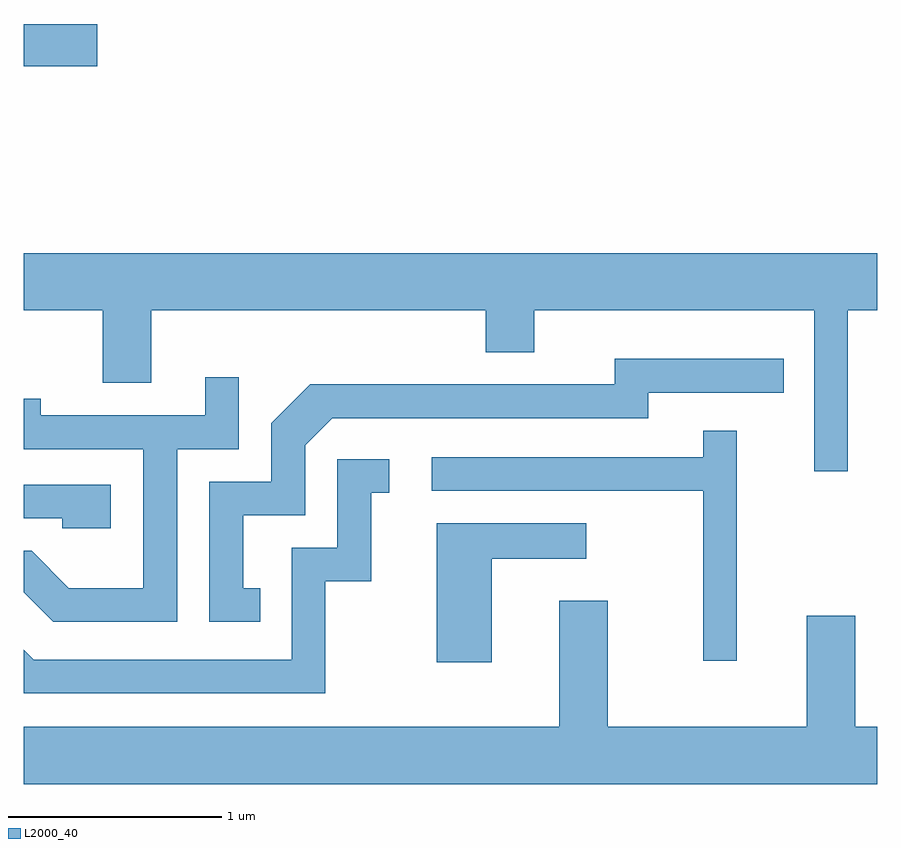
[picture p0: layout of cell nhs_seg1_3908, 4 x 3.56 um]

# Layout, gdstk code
import gdstk
lib = gdstk.Library(unit=1e-6, precision=1e-09)
def R(c, l, rs):  # rectangles x0, y0, x1, y1
    for r in rs: c.add(gdstk.rectangle(r[:2], r[2:], *l))
def P(c, l, *ps):  # polygons
    for p in ps: c.add(gdstk.Polygon(p, *l))
L2000_40 = (2000, 40)

nhs_seg1_3908 = lib.new_cell('nhs_seg1_3908')
R(nhs_seg1_3908, L2000_40, [(303.611,845.221,303.954,845.419)])
P(nhs_seg1_3908, L2000_40, [(303.611,844.076),(303.981,844.076),(303.981,843.736),(304.209,843.736),(304.209,844.076),(305.776,844.076),(305.776,843.881),(306.004,843.881),(306.004,844.076),(307.316,844.076),(307.316,843.323),(307.474,843.323),(307.474,844.076),(307.611,844.076),(307.611,844.344),(303.611,844.344)],
  [(304.718,842.774),(304.639,842.774),(304.639,843.116),(304.929,843.116),(304.929,843.444),(305.057,843.571),(306.539,843.571),(306.539,843.691),(307.173,843.691),(307.173,843.849),(306.381,843.849),(306.381,843.729),(304.954,843.729),(304.771,843.547),(304.771,843.274),(304.481,843.274),(304.481,842.616),(304.718,842.616)],
  [(304.329,843.426),(304.619,843.426),(304.619,843.763),(304.461,843.763),(304.461,843.584),(303.689,843.584),(303.689,843.663),(303.611,843.663),(303.611,843.426),(304.171,843.426),(304.171,842.774),(303.822,842.774),(303.647,842.949),(303.611,842.949),(303.611,842.754),(303.749,842.616),(304.329,842.616)],
  [(306.954,843.513),(306.796,843.513),(306.796,843.389),(305.523,843.389),(305.523,843.231),(306.796,843.231),(306.796,842.433),(306.954,842.433)],
  [(305.024,842.806),(305.239,842.806),(305.239,843.221),(305.323,843.221),(305.323,843.379),(305.081,843.379),(305.081,842.964),(304.866,842.964),(304.866,842.439),(303.657,842.439),(303.611,842.485),(303.611,842.281),(305.024,842.281)],
  [(304.019,843.259),(303.611,843.259),(303.611,843.101),(303.791,843.101),(303.791,843.056),(304.019,843.056)],
  [(305.804,842.911),(306.248,842.911),(306.248,843.079),(305.546,843.079),(305.546,842.426),(305.804,842.426)],
  [(307.611,842.124),(307.509,842.124),(307.509,842.644),(307.281,842.644),(307.281,842.124),(306.349,842.124),(306.349,842.714),(306.121,842.714),(306.121,842.124),(303.611,842.124),(303.611,841.856),(307.611,841.856)])

lib.write_gds('nhs_seg1_3908.gds')
